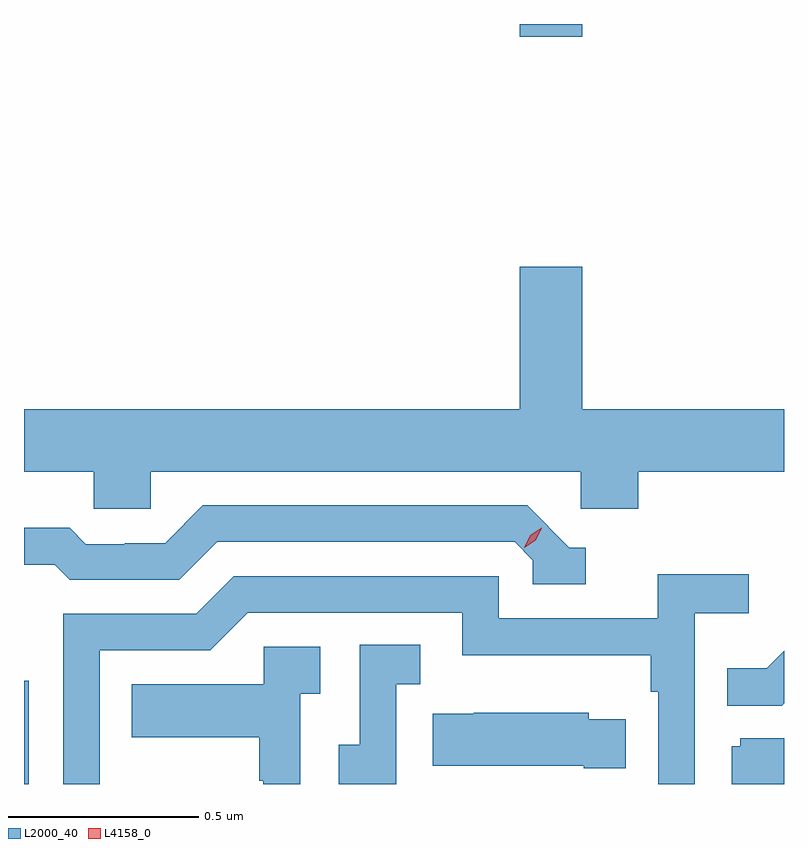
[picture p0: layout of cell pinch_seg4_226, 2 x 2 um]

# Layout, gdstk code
import gdstk
lib = gdstk.Library(unit=1e-6, precision=1e-09)
def R(c, l, rs):  # rectangles x0, y0, x1, y1
    for r in rs: c.add(gdstk.rectangle(r[:2], r[2:], *l))
def P(c, l, *ps):  # polygons
    for p in ps: c.add(gdstk.Polygon(p, *l))
L2000_40 = (2000, 40)
L4158_0 = (4158, 0)

pinch_seg4_226 = lib.new_cell('pinch_seg4_226')
R(pinch_seg4_226, L2000_40, [(1002.863,825.302,1002.876,825.574), (1004.168,827.268,1004.332,827.302)])
P(pinch_seg4_226, L2000_40, [(1003.197,826.124),(1004.328,826.124),(1004.328,826.026),(1004.48,826.026),(1004.48,826.124),(1004.863,826.124),(1004.863,826.288),(1004.332,826.288),(1004.332,826.663),(1004.168,826.663),(1004.168,826.288),(1002.863,826.288),(1002.863,826.124),(1003.047,826.124),(1003.047,826.026),(1003.197,826.026)],
  [(1004.341,825.924),(1004.298,825.924),(1004.187,826.035),(1003.334,826.035),(1003.235,825.936),(1003.128,825.936),(1003.128,825.933),(1003.025,825.933),(1002.983,825.976),(1002.863,825.976),(1002.863,825.879),(1002.944,825.879),(1002.983,825.84),(1003.272,825.84),(1003.371,825.939),(1004.154,825.939),(1004.202,825.891),(1004.202,825.828),(1004.341,825.828)],
  [(1003.062,825.654),(1003.353,825.654),(1003.452,825.753),(1004.016,825.753),(1004.016,825.641),(1004.512,825.641),(1004.512,825.545),(1004.532,825.545),(1004.532,825.302),(1004.628,825.302),(1004.628,825.752),(1004.77,825.752),(1004.77,825.854),(1004.531,825.854),(1004.531,825.738),(1004.112,825.738),(1004.112,825.849),(1003.415,825.849),(1003.316,825.75),(1002.966,825.75),(1002.966,825.302),(1003.062,825.302)],
  [(1003.842,825.565),(1003.906,825.565),(1003.906,825.668),(1003.746,825.668),(1003.746,825.405),(1003.691,825.405),(1003.691,825.302),(1003.842,825.302)],
  [(1003.59,825.539),(1003.642,825.539),(1003.642,825.663),(1003.494,825.663),(1003.494,825.565),(1003.147,825.565),(1003.147,825.425),(1003.482,825.425),(1003.482,825.311),(1003.492,825.311),(1003.492,825.302),(1003.59,825.302)],
  [(1004.863,825.514),(1004.863,825.653),(1004.817,825.607),(1004.713,825.607),(1004.713,825.508),(1004.857,825.508)],
  [(1004.447,825.472),(1004.349,825.472),(1004.349,825.49),(1004.047,825.49),(1004.047,825.487),(1003.939,825.487),(1003.939,825.35),(1004.336,825.35),(1004.336,825.343),(1004.447,825.343)],
  [(1004.863,825.423),(1004.748,825.423),(1004.748,825.402),(1004.726,825.402),(1004.726,825.302),(1004.863,825.302)])
P(pinch_seg4_226, L4158_0, [(1004.179,825.924),(1004.179,825.925),(1004.195,825.957),(1004.225,825.977),(1004.225,825.977),(1004.225,825.977),(1004.21,825.944),(1004.179,825.924)])

lib.write_gds('pinch_seg4_226.gds')
